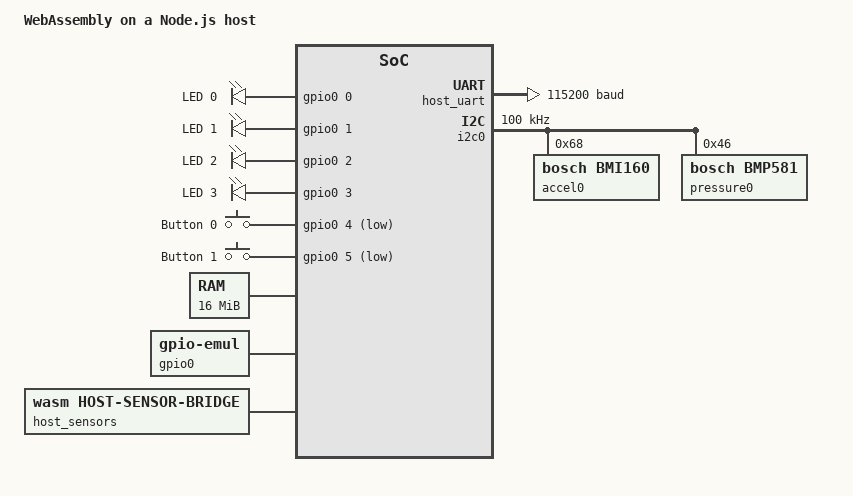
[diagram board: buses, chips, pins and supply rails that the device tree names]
/*
 * SPDX-License-Identifier: Apache-2.0
 *
 * There is no hardware to describe. The devicetree exists because Zephyr's
 * build requires one, and it names the host-provided devices so drivers can
 * be bound the ordinary way.
 */

/dts-v1/;

#include <mem.h>
#include <zephyr/dt-bindings/display/panel.h>
#include <zephyr/dt-bindings/gpio/gpio.h>
#include <zephyr/dt-bindings/i2c/i2c.h>
#include <zephyr/dt-bindings/input/input-event-codes.h>
#include <zephyr/arch/wasm/wasm_irq_lines.h>

/ {
	#address-cells = <1>;
	#size-cells = <1>;
	model = "WebAssembly on a Node.js host";
	compatible = "wasm,node";
	interrupt-parent = <&host_intc>;

	chosen {
		zephyr,console = &host_uart;
		zephyr,shell-uart = &host_uart;
		zephyr,sram = &ram0;
		zephyr,entropy = &host_rng;
		zephyr,flash = &flash0;
		zephyr,flash-controller = &flashcontroller0;
		zephyr,code-partition = &slot0_partition;
		zephyr,display = &display0;
		zephyr,touch = &host_input;
	};

	aliases {
		led0 = &led0;
		led1 = &led1;
		led2 = &led2;
		led3 = &led3;
		sw0 = &sw0;
		sw1 = &sw1;
		eeprom-0 = &eeprom0;
		accel0 = &accel0;
		pressure-sensor = &pressure0;
	};

	/*
	 * A board's worth of LEDs and buttons, drawn by the page. The pins are
	 * on the emulated controller below; host/web/index.html mirrors this
	 * numbering and says so.
	 */
	leds {
		compatible = "gpio-leds";

		led0: led_0 {
			gpios = <&gpio0 0 GPIO_ACTIVE_HIGH>;
			label = "LED 0";
		};

		led1: led_1 {
			gpios = <&gpio0 1 GPIO_ACTIVE_HIGH>;
			label = "LED 1";
		};

		led2: led_2 {
			gpios = <&gpio0 2 GPIO_ACTIVE_HIGH>;
			label = "LED 2";
		};

		led3: led_3 {
			gpios = <&gpio0 3 GPIO_ACTIVE_HIGH>;
			label = "LED 3";
		};
	};

	/*
	 * Active low with a pull-up, which is how a button is usually wired and
	 * so what the samples expect. The host therefore holds an unpressed
	 * button at 1, and the bridge only forwards changes.
	 */
	buttons {
		compatible = "gpio-keys";

		sw0: button_0 {
			gpios = <&gpio0 4 (GPIO_PULL_UP | GPIO_ACTIVE_LOW)>;
			label = "Button 0";
			zephyr,code = <INPUT_KEY_0>;
		};

		sw1: button_1 {
			gpios = <&gpio0 5 (GPIO_PULL_UP | GPIO_ACTIVE_LOW)>;
			label = "Button 1";
			zephyr,code = <INPUT_KEY_1>;
		};
	};

	cpus {
		#address-cells = <1>;
		#size-cells = <0>;

		cpu@0 {
			device_type = "cpu";
			compatible = "wasm,cpu";
			reg = <0>;
		};
	};

	/*
	 * A nominal window into the single wasm linear memory. Nothing places
	 * anything here: wasm-ld lays out the module and the heap follows it.
	 * Zephyr wants a zephyr,sram node, so this is one.
	 */
	ram0: memory@0 {
		device_type = "memory";
		compatible = "mmio-sram";
		reg = <0x0 0x1000000>;   /* 16 MB, nominal */
	};

	soc {
		#address-cells = <1>;
		#size-cells = <1>;
		compatible = "simple-bus";
		ranges;

		host_console: console {
			compatible = "wasm,host-console";
			status = "okay";
		};

		host_uart: uart {
			compatible = "wasm,host-uart";
			status = "okay";
			current-speed = <115200>;
		};

		host_timer: timer {
			compatible = "wasm,host-timer";
			status = "okay";
			interrupts = <WASM_IRQ_TIMER>;
		};

		/*
		 * Not a controller to configure: the host sets a bit in a word
		 * and the guest takes it at its next safepoint. The node exists
		 * so drivers can name their line here rather than in C.
		 */
		host_intc: interrupt-controller {
			compatible = "wasm,host-intc";
			status = "okay";
			interrupt-controller;
			#interrupt-cells = <1>;
		};

		/*
		 * Upstream's emulated GPIO, which already knows about pins,
		 * direction, pull, edges and callbacks. Using it rather than
		 * writing a driver means a learner runs the same GPIO code
		 * every other emulated Zephyr target runs.
		 */
		gpio0: gpio_emul {
			compatible = "zephyr,gpio-emul";
			status = "okay";
			rising-edge;
			falling-edge;
			high-level;
			low-level;
			gpio-controller;
			#gpio-cells = <2>;
			ngpios = <8>;
		};

		/*
		 * Upstream's flash simulator, the same one native_sim uses. Off the
		 * posix arch it keeps the whole device as a static array, which
		 * here is part of linear memory. That is why it is 256 KB and not
		 * native_sim's 2 MB: every step-back snapshot copies linear
		 * memory, and the storage samples need 16 erase blocks, not 512.
		 * The host can restore and save the array between steps; see
		 * DESIGN.md.
		 */
		flashcontroller0: flash-controller@0 {
			compatible = "zephyr,sim-flash";
			reg = <0x0 DT_SIZE_K(256)>;
			#address-cells = <1>;
			#size-cells = <1>;
			erase-value = <0xff>;

			flash0: flash@0 {
				status = "okay";
				compatible = "soc-nv-flash";
				erase-block-size = <4096>;
				write-block-size = <1>;
				reg = <0x0 DT_SIZE_K(256)>;

				partitions {
					compatible = "fixed-partitions";
					#address-cells = <1>;
					#size-cells = <1>;

					/* Nothing is loaded from here: the image is the
					 * wasm module. It exists because
					 * zephyr,code-partition must name something.
					 */
					slot0_partition: partition@0 {
						label = "image-0";
						reg = <0x0 DT_SIZE_K(192)>;
					};

					storage_partition: partition@30000 {
						label = "storage";
						reg = <0x30000 DT_SIZE_K(64)>;
					};
				};
			};
		};

		/*
		 * A display the host draws: a <canvas> on the page. 320x240 as on
		 * native_sim, but RGB565, which is LVGL's default colour depth,
		 * so its samples run unmodified; and at 150 KB of linear memory it
		 * keeps step-back snapshots affordable.
		 */
		display0: display {
			compatible = "wasm,host-display";
			status = "okay";
			pixel-format = <PANEL_PIXEL_FORMAT_RGB_565>;
			width = <320>;
			height = <240>;
		};

		/*
		 * Touch and keys from the page: pressing on the display's canvas
		 * and typing while it has focus. See wasm,host-input.
		 */
		host_input: input {
			compatible = "wasm,host-input";
			status = "okay";
			interrupts = <WASM_IRQ_INPUT>;
		};

		/* LVGL reads its pointer from the same touches. */
		lvgl_pointer: lvgl-pointer {
			compatible = "zephyr,lvgl-pointer-input";
			input = <&host_input>;
		};

		/* Upstream's RAM-backed EEPROM simulator, as on native_sim. */
		eeprom0: eeprom {
			compatible = "zephyr,sim-eeprom";
			status = "okay";
			size = <DT_SIZE_K(32)>;
		};

		host_rng: rng {
			compatible = "wasm,host-entropy";
			status = "okay";
		};

		/*
		 * Upstream's emulated I2C controller, as on native_sim, with two
		 * parts on it that upstream also emulates: the sensor drivers are
		 * the real ones, talking to a bus, and only the chips are software.
		 * The bmi160 is the accelerometer upstream's own LVGL chart sample
		 * puts on native_sim's bus. Neither has an interrupt line, so their
		 * drivers run without triggers.
		 */
		i2c0: i2c@100 {
			compatible = "zephyr,i2c-emul-controller";
			status = "okay";
			/* Nominal, as on native_sim: the binding requires one. */
			reg = <0x100 4>;
			clock-frequency = <I2C_BITRATE_STANDARD>;
			#address-cells = <1>;
			#size-cells = <0>;
			#forward-cells = <1>;

			accel0: bmi160@68 {
				compatible = "bosch,bmi160";
				reg = <0x68>;
			};

			pressure0: bmp581@46 {
				compatible = "bosch,bmp581";
				reg = <0x46>;
			};
		};

		/* Lets the host set what the emulated sensors measure. */
		host_sensors: sensor-bridge {
			compatible = "wasm,host-sensor-bridge";
			status = "okay";
			sensors = <&accel0>;
			interrupts = <WASM_IRQ_SENSOR>;
		};

		host_gpio: gpio-bridge {
			compatible = "wasm,host-gpio-bridge";
			status = "okay";
			ports = <&gpio0>;
			interrupts = <WASM_IRQ_GPIO>;
		};
	};
};
